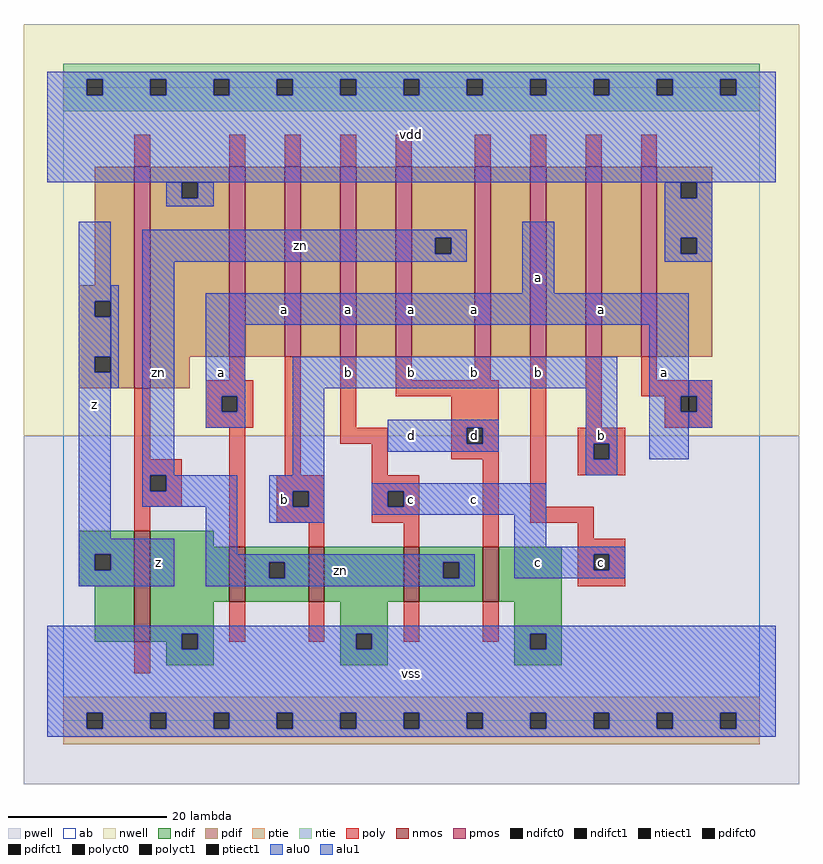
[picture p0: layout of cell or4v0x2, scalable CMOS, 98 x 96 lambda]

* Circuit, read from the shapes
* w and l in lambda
.subckt or4v0x2 a b c d vdd vss z zn
M1 vss zn z vss nfet w=14 l=2
M2 zn a vss vss nfet w=7 l=2
M3 vss b zn vss nfet w=7 l=2
M4 zn c vss vss nfet w=7 l=2
M5 vss d zn vss nfet w=7 l=2
M6 vdd zn z vdd pfet w=28 l=2
M7 n1 a vdd vdd pfet w=24 l=2
M8 n2 b n1 vdd pfet w=24 l=2
M9 n3 c n2 vdd pfet w=24 l=2
M10 zn d n3 vdd pfet w=24 l=2
M11 n4 d zn vdd pfet w=24 l=2
M12 n5 c n4 vdd pfet w=24 l=2
M13 n6 b n5 vdd pfet w=24 l=2
M14 vdd a n6 vdd pfet w=24 l=2
.ends

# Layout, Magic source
magic
tech scmos
<< ab >>
rect 0 0 88 80
<< nwell >>
rect -5 36 93 88
<< pwell >>
rect -5 -8 93 36
<< poly >>
rect 9 70 11 74
rect 21 70 23 74
rect 28 70 30 74
rect 35 70 37 74
rect 42 70 44 74
rect 52 70 54 74
rect 59 70 61 74
rect 66 70 68 74
rect 73 70 75 74
rect 21 43 23 46
rect 9 33 11 42
rect 18 41 24 43
rect 18 39 20 41
rect 22 39 24 41
rect 18 37 24 39
rect 9 31 15 33
rect 9 29 11 31
rect 13 29 15 31
rect 9 27 15 29
rect 9 24 11 27
rect 21 22 23 37
rect 28 31 30 46
rect 35 37 37 46
rect 42 43 44 46
rect 52 43 54 46
rect 42 41 55 43
rect 49 37 55 41
rect 35 35 41 37
rect 39 31 41 35
rect 49 35 51 37
rect 53 35 55 37
rect 49 33 55 35
rect 27 29 33 31
rect 27 27 29 29
rect 31 27 33 29
rect 27 25 33 27
rect 39 29 45 31
rect 39 27 41 29
rect 43 27 45 29
rect 39 25 45 27
rect 31 22 33 25
rect 43 22 45 25
rect 53 22 55 33
rect 59 27 61 46
rect 66 37 68 46
rect 73 43 75 46
rect 73 41 82 43
rect 76 39 78 41
rect 80 39 82 41
rect 76 37 82 39
rect 65 35 71 37
rect 65 33 67 35
rect 69 33 71 35
rect 65 31 71 33
rect 59 25 67 27
rect 65 23 67 25
rect 65 21 71 23
rect 65 19 67 21
rect 69 19 71 21
rect 65 17 71 19
rect 9 6 11 10
rect 21 10 23 15
rect 31 10 33 15
rect 43 10 45 15
rect 53 10 55 15
<< ndif >>
rect 2 21 9 24
rect 2 19 4 21
rect 6 19 9 21
rect 2 17 9 19
rect 4 10 9 17
rect 11 22 19 24
rect 11 15 21 22
rect 23 20 31 22
rect 23 18 26 20
rect 28 18 31 20
rect 23 15 31 18
rect 33 15 43 22
rect 45 20 53 22
rect 45 18 48 20
rect 50 18 53 20
rect 45 15 53 18
rect 55 15 63 22
rect 11 11 19 15
rect 11 10 15 11
rect 13 9 15 10
rect 17 9 19 11
rect 35 11 41 15
rect 13 7 19 9
rect 35 9 37 11
rect 39 9 41 11
rect 57 11 63 15
rect 35 7 41 9
rect 57 9 59 11
rect 61 9 63 11
rect 57 7 63 9
<< pdif >>
rect 4 55 9 70
rect 2 53 9 55
rect 2 51 4 53
rect 6 51 9 53
rect 2 46 9 51
rect 2 44 4 46
rect 6 44 9 46
rect 2 42 9 44
rect 11 68 21 70
rect 11 66 15 68
rect 17 66 21 68
rect 11 46 21 66
rect 23 46 28 70
rect 30 46 35 70
rect 37 46 42 70
rect 44 61 52 70
rect 44 59 47 61
rect 49 59 52 61
rect 44 46 52 59
rect 54 46 59 70
rect 61 46 66 70
rect 68 46 73 70
rect 75 68 82 70
rect 75 66 78 68
rect 80 66 82 68
rect 75 61 82 66
rect 75 59 78 61
rect 80 59 82 61
rect 75 46 82 59
rect 11 42 16 46
<< alu1 >>
rect -2 81 90 82
rect -2 79 3 81
rect 5 79 11 81
rect 13 79 19 81
rect 21 79 27 81
rect 29 79 35 81
rect 37 79 43 81
rect 45 79 51 81
rect 53 79 59 81
rect 61 79 67 81
rect 69 79 75 81
rect 77 79 83 81
rect 85 79 90 81
rect -2 68 90 79
rect 2 53 6 63
rect 2 51 4 53
rect 2 46 6 51
rect 2 44 4 46
rect 2 23 6 44
rect 58 54 62 63
rect 18 50 79 54
rect 18 41 23 50
rect 18 39 20 41
rect 22 39 23 41
rect 18 37 23 39
rect 29 42 70 46
rect 29 31 33 42
rect 41 37 55 38
rect 41 35 51 37
rect 53 35 55 37
rect 41 34 55 35
rect 66 35 70 42
rect 66 33 67 35
rect 69 33 70 35
rect 74 41 79 50
rect 74 39 78 41
rect 74 33 79 39
rect 66 31 70 33
rect 2 21 14 23
rect 2 19 4 21
rect 6 19 14 21
rect 2 17 14 19
rect 26 29 33 31
rect 26 27 29 29
rect 31 27 33 29
rect 26 25 33 27
rect 39 29 61 30
rect 39 27 41 29
rect 43 27 61 29
rect 39 26 61 27
rect 57 22 61 26
rect 57 21 71 22
rect 57 19 67 21
rect 69 19 71 21
rect 57 18 71 19
rect -2 11 90 12
rect -2 9 15 11
rect 17 9 37 11
rect 39 9 59 11
rect 61 9 90 11
rect -2 1 90 9
rect -2 -1 3 1
rect 5 -1 11 1
rect 13 -1 19 1
rect 21 -1 27 1
rect 29 -1 35 1
rect 37 -1 43 1
rect 45 -1 51 1
rect 53 -1 59 1
rect 61 -1 67 1
rect 69 -1 75 1
rect 77 -1 83 1
rect 85 -1 90 1
rect -2 -2 90 -1
<< ptie >>
rect 0 1 88 3
rect 0 -1 3 1
rect 5 -1 11 1
rect 13 -1 19 1
rect 21 -1 27 1
rect 29 -1 35 1
rect 37 -1 43 1
rect 45 -1 51 1
rect 53 -1 59 1
rect 61 -1 67 1
rect 69 -1 75 1
rect 77 -1 83 1
rect 85 -1 88 1
rect 0 -3 88 -1
<< ntie >>
rect 0 81 88 83
rect 0 79 3 81
rect 5 79 11 81
rect 13 79 19 81
rect 21 79 27 81
rect 29 79 35 81
rect 37 79 43 81
rect 45 79 51 81
rect 53 79 59 81
rect 61 79 67 81
rect 69 79 75 81
rect 77 79 83 81
rect 85 79 88 81
rect 0 77 88 79
<< nmos >>
rect 9 10 11 24
rect 21 15 23 22
rect 31 15 33 22
rect 43 15 45 22
rect 53 15 55 22
<< pmos >>
rect 9 42 11 70
rect 21 46 23 70
rect 28 46 30 70
rect 35 46 37 70
rect 42 46 44 70
rect 52 46 54 70
rect 59 46 61 70
rect 66 46 68 70
rect 73 46 75 70
<< polyct0 >>
rect 11 29 13 31
rect 79 39 80 41
<< polyct1 >>
rect 20 39 22 41
rect 51 35 53 37
rect 29 27 31 29
rect 41 27 43 29
rect 78 39 79 41
rect 67 33 69 35
rect 67 19 69 21
<< ndifct0 >>
rect 26 18 28 20
rect 48 18 50 20
<< ndifct1 >>
rect 4 19 6 21
rect 15 9 17 11
rect 37 9 39 11
rect 59 9 61 11
<< ntiect1 >>
rect 3 79 5 81
rect 11 79 13 81
rect 19 79 21 81
rect 27 79 29 81
rect 35 79 37 81
rect 43 79 45 81
rect 51 79 53 81
rect 59 79 61 81
rect 67 79 69 81
rect 75 79 77 81
rect 83 79 85 81
<< ptiect1 >>
rect 3 -1 5 1
rect 11 -1 13 1
rect 19 -1 21 1
rect 27 -1 29 1
rect 35 -1 37 1
rect 43 -1 45 1
rect 51 -1 53 1
rect 59 -1 61 1
rect 67 -1 69 1
rect 75 -1 77 1
rect 83 -1 85 1
<< pdifct0 >>
rect 15 66 17 68
rect 47 59 49 61
rect 78 66 80 68
rect 78 59 80 61
<< pdifct1 >>
rect 4 51 6 53
rect 4 44 6 46
<< alu0 >>
rect 13 66 15 68
rect 17 66 19 68
rect 13 65 19 66
rect 76 66 78 68
rect 80 66 82 68
rect 10 61 51 62
rect 10 59 47 61
rect 49 59 51 61
rect 10 58 51 59
rect 6 42 7 55
rect 10 31 14 58
rect 76 61 82 66
rect 76 59 78 61
rect 80 59 82 61
rect 76 58 82 59
rect 79 41 82 43
rect 80 39 82 41
rect 79 37 82 39
rect 10 29 11 31
rect 13 29 22 31
rect 10 27 22 29
rect 18 21 22 27
rect 18 20 52 21
rect 18 18 26 20
rect 28 18 48 20
rect 50 18 52 20
rect 18 17 52 18
<< labels >>
rlabel alu0 12 44 12 44 6 zn
rlabel alu0 35 19 35 19 6 zn
rlabel alu0 30 60 30 60 6 zn
rlabel alu1 12 20 12 20 6 z
rlabel alu1 4 40 4 40 6 z
rlabel alu1 28 28 28 28 6 b
rlabel alu1 20 44 20 44 6 a
rlabel alu1 28 52 28 52 6 a
rlabel alu1 44 6 44 6 6 vss
rlabel alu1 44 28 44 28 6 c
rlabel alu1 36 44 36 44 6 b
rlabel alu1 44 36 44 36 6 d
rlabel alu1 44 44 44 44 6 b
rlabel alu1 44 52 44 52 6 a
rlabel alu1 36 52 36 52 6 a
rlabel alu1 44 74 44 74 6 vdd
rlabel alu1 52 28 52 28 6 c
rlabel alu1 60 20 60 20 6 c
rlabel polyct1 68 20 68 20 6 c
rlabel polyct1 52 36 52 36 6 d
rlabel alu1 52 44 52 44 6 b
rlabel alu1 60 44 60 44 6 b
rlabel alu1 68 36 68 36 6 b
rlabel alu1 68 52 68 52 6 a
rlabel alu1 52 52 52 52 6 a
rlabel alu1 60 56 60 56 6 a
rlabel alu1 76 44 76 44 6 a
<< end >>
